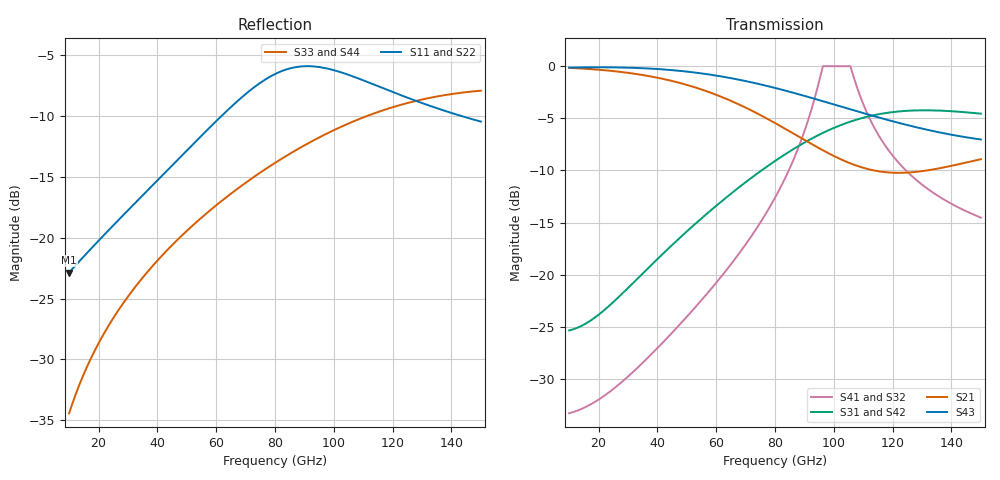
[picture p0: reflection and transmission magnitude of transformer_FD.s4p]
! TOUCHSTONE file generated by CST MICROWAVE STUDIO
! Date and time: Tue Sep 15 07:32:57 2026
! Project name: transformer_FD.cst
! Header version: 2024
! Port assignment regex: !\s*Touchstone port\s*([0-9]+)\s*=\s*(CST MWS port|CST DES external port|CST DES block port)\s*(.+)\s* \(\"(.*)\"\)(\s*mode\s*([0-9]+))?.*
! Touchstone port assignment:
! Touchstone port 1 = CST MWS port 1 ("P1")
! Touchstone port 2 = CST MWS port 2 ("P2")
! Touchstone port 3 = CST MWS port 3 ("S1")
! Touchstone port 4 = CST MWS port 4 ("S2")
# GHz S MA R 50
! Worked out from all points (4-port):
!   1001 points, 10 GHz to 150 GHz, reference 50 ohm
!   strongest paths, dB at 10 GHz, 45 GHz, 80 GHz, 115 GHz, 150 GHz:
!     S43: -0.1, -0.4, -2.1, -4.9, -7.0
!     S21: -0.2, -1.4, -5.5, -10.1, -8.9
!     S31: -25.3, -17.2, -9.1, -4.6, -4.6
!     S42: -25.3, -17.1, -9.1, -4.6, -4.6
!     S41: -33.3, -25.6, -12.6, -6.5, -14.5
!     S32: -33.3, -25.6, -12.6, -6.5, -14.5
!   lowest |S11| = -22.9 dB at 10 GHz (marker M1), VSWR 1.15, Z = 52.6 + j6.93 ohm
!   |S11| at or under -10 dB: start of sweep to 61.87 GHz; 143.1 GHz to end of sweep
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10  0.07189 65.8  0.9814 -11.8  0.0541 76.7  0.02167 -109.3
    0.9814 -11.8  0.07189 65.8  0.02167 -109.3  0.0541 76.7
    0.0541 76.7  0.02167 -109.3  0.01901 27.3  0.9843 -11.0
    0.02167 -109.3  0.0541 76.7  0.9843 -11.0  0.01901 27.3
83.36  0.4878 -3.8  0.5019 -97.6  0.3774 -34.1  0.289 168.9
       0.5019 -97.6  0.4879 -3.8  0.289 168.9  0.3774 -34.1
       0.3774 -34.1  0.289 168.9  0.2148 -18.7  0.7645 -84.6
       0.289 168.9  0.3774 -34.1  0.7645 -84.6  0.2147 -18.7
96.8  0.497 -29.7  0.3916 -123.2  0.4827 -50.6  1 131.7
      0.3916 -123.2  0.4974 -29.7  1 131.5  0.4826 -50.6
      0.4827 -50.6  1 131.5  0.2643 -27.6  0.676 -100.9
      1 131.7  0.4826 -50.6  0.676 -100.9  0.2642 -27.6
100.72  0.4839 -36.0  0.367 -131.5  0.5108 -55.7  1 85.9
        0.367 -131.5  0.4843 -36.1  1 85.6  0.5107 -55.7
        0.5108 -55.7  1 85.6  0.2787 -30.4  0.6511 -105.7
        1 85.9  0.5107 -55.7  0.6511 -105.7  0.2785 -30.4
105.62  0.4629 -43.0  0.3421 -142.3  0.5423 -62.1  0.9997 36.0
        0.3421 -142.3  0.4633 -43.0  0.9956 35.9  0.5422 -62.1
        0.5423 -62.1  0.9956 35.9  0.2962 -33.9  0.6212 -111.6
        0.9997 36.0  0.5422 -62.1  0.6212 -111.6  0.296 -33.9
115.56  0.4159 -54.0  0.3129 -164.5  0.5895 -75.0  0.4579 10.8
        0.3129 -164.5  0.4163 -54.1  0.4568 10.8  0.5893 -75.0
        0.5895 -75.0  0.4568 10.8  0.3295 -41.3  0.5661 -123.6
        0.4579 10.8  0.5893 -75.0  0.5661 -123.6  0.3292 -41.3
150  0.2993 -73.4  0.3581 137.9  0.5918 -110.0  0.1879 -3.5
     0.3581 137.9  0.2995 -73.5  0.1876 -3.5  0.5919 -109.9
     0.5918 -110.0  0.1876 -3.5  0.401 -66.4  0.4451 -162.2
     0.1879 -3.5  0.5919 -109.9  0.4451 -162.2  0.4005 -66.4
